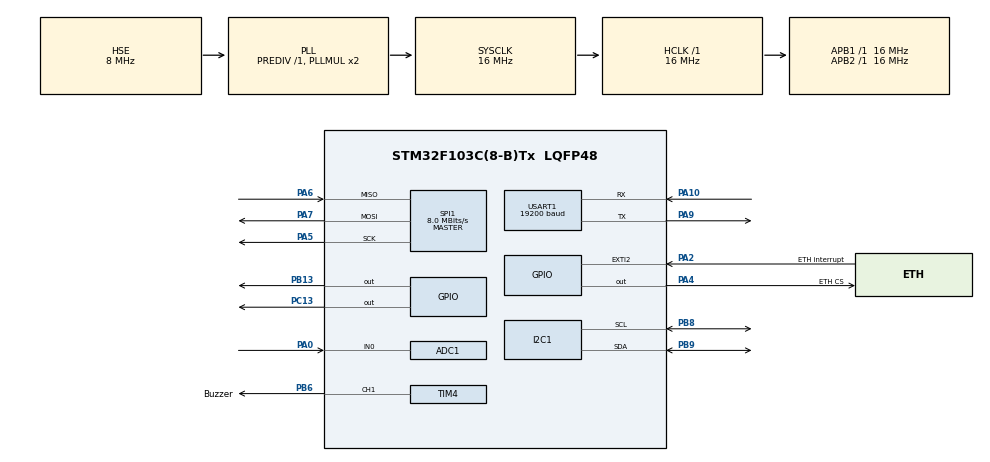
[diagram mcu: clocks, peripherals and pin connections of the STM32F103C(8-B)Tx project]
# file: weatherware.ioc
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ADC1.Channel-7\#ChannelRegularConversion=ADC_CHANNEL_0
ADC1.NbrOfConversionFlag=1
ADC1.Rank-7\#ChannelRegularConversion=1
ADC1.SamplingTime-7\#ChannelRegularConversion=ADC_SAMPLETIME_1CYCLE_5
ADC1.master=1
FREERTOS.Tasks01=defaultTask,0,128,StartDefaultTask,Default,NULL
FREERTOS.configMINIMAL_STACK_SIZE=512
FREERTOS.configTOTAL_HEAP_SIZE=8192
Mcu.Family=STM32F1
Mcu.Name=STM32F103C(8-B)Tx
Mcu.Package=LQFP48
NVIC.EXTI2_IRQn=true\:5\:0\:false\:false\:true\:true\:true\:true
NVIC.PriorityGroup=NVIC_PRIORITYGROUP_4
NVIC.TIM1_UP_IRQn=true\:0\:0\:false\:false\:true\:false\:false\:true
NVIC.TIM3_IRQn=true\:5\:0\:false\:false\:true\:true\:true\:true
NVIC.TimeBase=TIM1_UP_IRQn
NVIC.TimeBaseIP=TIM1
NVIC.USART1_IRQn=true\:5\:0\:false\:false\:true\:true\:true\:true
PA0-WKUP.Signal=ADCx_IN0
PA10.Mode=Asynchronous
PA10.Signal=USART1_RX
PA13.Mode=Serial_Wire
PA13.Signal=SYS_JTMS-SWDIO
PA14.Mode=Serial_Wire
PA14.Signal=SYS_JTCK-SWCLK
PA2.GPIO_Label=ETH interrupt
PA2.GPIO_ModeDefaultEXTI=GPIO_MODE_IT_FALLING
PA2.Signal=GPXTI2
PA4.GPIO_Label=ETH CS
PA4.GPIO_Speed=GPIO_SPEED_FREQ_HIGH
PA4.Signal=GPIO_Output
PA5.Mode=Full_Duplex_Master
PA5.Signal=SPI1_SCK
PA6.Mode=Full_Duplex_Master
PA6.Signal=SPI1_MISO
PA7.Mode=Full_Duplex_Master
PA7.Signal=SPI1_MOSI
PA9.Mode=Asynchronous
PA9.Signal=USART1_TX
PB13.GPIO_ModeDefaultOutputPP=GPIO_MODE_OUTPUT_OD
PB13.Signal=GPIO_Output
PB6.GPIO_Label=Buzzer
PB6.GPIO_Speed=GPIO_SPEED_FREQ_LOW
PB6.Signal=S_TIM4_CH1
PB8.Mode=I2C
PB8.Signal=I2C1_SCL
PB9.Mode=I2C
PB9.Signal=I2C1_SDA
PC13-TAMPER-RTC.Signal=GPIO_Output
PD0-OSC_IN.Mode=HSE-External-Oscillator
PD0-OSC_IN.Signal=RCC_OSC_IN
PD1-OSC_OUT.Mode=HSE-External-Oscillator
PD1-OSC_OUT.Signal=RCC_OSC_OUT
ProjectManager.HeapSize=0x400
ProjectManager.StackSize=0x800
ProjectManager.TargetToolchain=SW4STM32
RCC.AHBFreq_Value=16000000
RCC.APB1Freq_Value=16000000
RCC.APB1TimFreq_Value=16000000
RCC.APB2Freq_Value=16000000
RCC.APB2TimFreq_Value=16000000
RCC.HCLKFreq_Value=16000000
RCC.PLLSourceVirtual=RCC_PLLSOURCE_HSE
RCC.SYSCLKFreq_VALUE=16000000
RCC.SYSCLKSource=RCC_SYSCLKSOURCE_PLLCLK
RCC.USBFreq_Value=16000000
SH.ADCx_IN0.0=ADC1_IN0,IN0
SH.S_TIM4_CH1.0=TIM4_CH1,PWM Generation1 CH1
SPI1.CalculateBaudRate=8.0 MBits/s
SPI1.Direction=SPI_DIRECTION_2LINES
SPI1.Mode=SPI_MODE_MASTER
SPI1.VirtualType=VM_MASTER
TIM3.Period=0xffff
TIM3.Prescaler=8-1
TIM4.Channel-PWM\ Generation1\ CH1=TIM_CHANNEL_1
TIM4.Period=65535
USART1.BaudRate=19200
USART1.VirtualMode=VM_ASYNC
VP_FREERTOS_VS_CMSIS_V1.Mode=CMSIS_V1
VP_SYS_VS_tim1.Mode=TIM1
VP_TIM3_VS_ClockSourceINT.Mode=Internal
board=custom

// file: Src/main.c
/* USER CODE BEGIN Header */
/**
  ******************************************************************************
  * @file           : main.c
  * @brief          : Main program body
  ******************************************************************************
  * @attention
  *
  * <h2><center>&copy; Copyright (c) 2019 STMicroelectronics.
  * All rights reserved.</center></h2>
  *
  * This software component is licensed by ST under BSD 3-Clause license,
  * the "License"; You may not use this file except in compliance with the
  * License. You may obtain a copy of the License at:
  *                        opensource.org/licenses/BSD-3-Clause
  *
  ******************************************************************************
  */
/* USER CODE END Header */

#include "main.h"
#include "cmsis_os.h"
#include "adc.h"
#include "i2c.h"
#include "spi.h"
#include "tim.h"
#include "usart.h"
#include "gpio.h"

/* USER CODE BEGIN Includes */
#include "enc28j60/enc28j60.h"
#include "enc28j60/net.h"
/* USER CODE END Includes */

void SystemClock_Config(void);
void MX_FREERTOS_Init(void);

int main(void)
{

  /* MCU Configuration--------------------------------------------------------*/

  /* Reset of all peripherals, Initializes the Flash interface and the Systick. */
  HAL_Init();

  /* Configure the system clock */
  SystemClock_Config();

  /* Initialize all configured peripherals */
  MX_GPIO_Init();
  MX_ADC1_Init();
  MX_SPI1_Init();
  MX_TIM4_Init();
  MX_USART1_UART_Init();
  MX_I2C1_Init();
  MX_TIM3_Init();
  /* USER CODE BEGIN 2 */

	//Ds18b20_Init(osPriorityNormal);
net_ini();
  /* USER CODE END 2 */

  /* Call init function for freertos objects (in freertos.c) */
  MX_FREERTOS_Init();

  /* Start scheduler */
  osKernelStart();

  /* We should never get here as control is now taken by the scheduler */

  /* Infinite loop */
  	  while(1)
  	  {

  	  }
}

void SystemClock_Config(void)
{
  RCC_OscInitTypeDef RCC_OscInitStruct = {0};
  RCC_ClkInitTypeDef RCC_ClkInitStruct = {0};
  RCC_PeriphCLKInitTypeDef PeriphClkInit = {0};

  /** Initializes the CPU, AHB and APB busses clocks
  */
  RCC_OscInitStruct.OscillatorType = RCC_OSCILLATORTYPE_HSE;
  RCC_OscInitStruct.HSEState = RCC_HSE_ON;
  RCC_OscInitStruct.HSEPredivValue = RCC_HSE_PREDIV_DIV1;
  RCC_OscInitStruct.HSIState = RCC_HSI_ON;
  RCC_OscInitStruct.PLL.PLLState = RCC_PLL_ON;
  RCC_OscInitStruct.PLL.PLLSource = RCC_PLLSOURCE_HSE;
  RCC_OscInitStruct.PLL.PLLMUL = RCC_PLL_MUL2;
  if (HAL_RCC_OscConfig(&RCC_OscInitStruct) != HAL_OK)
  {
    Error_Handler();
  }
  /** Initializes the CPU, AHB and APB busses clocks
  */
  RCC_ClkInitStruct.ClockType = RCC_CLOCKTYPE_HCLK|RCC_CLOCKTYPE_SYSCLK
                              |RCC_CLOCKTYPE_PCLK1|RCC_CLOCKTYPE_PCLK2;
  RCC_ClkInitStruct.SYSCLKSource = RCC_SYSCLKSOURCE_PLLCLK;
  RCC_ClkInitStruct.AHBCLKDivider = RCC_SYSCLK_DIV1;
  RCC_ClkInitStruct.APB1CLKDivider = RCC_HCLK_DIV1;
  RCC_ClkInitStruct.APB2CLKDivider = RCC_HCLK_DIV1;

  if (HAL_RCC_ClockConfig(&RCC_ClkInitStruct, FLASH_LATENCY_0) != HAL_OK)
  {
    Error_Handler();
  }
  PeriphClkInit.PeriphClockSelection = RCC_PERIPHCLK_ADC;
  PeriphClkInit.AdcClockSelection = RCC_ADCPCLK2_DIV2;
  if (HAL_RCCEx_PeriphCLKConfig(&PeriphClkInit) != HAL_OK)
  {
    Error_Handler();
  }
}

/* USER CODE BEGIN 4 */
//Network
void HAL_GPIO_EXTI_Callback(uint16_t GPIO_Pin)
{
	if(GPIO_Pin== GPIO_PIN_2)
	{
	   net_poll();
	} else {
	   __NOP();
	}
}

/* USER CODE END 4 */

void HAL_TIM_PeriodElapsedCallback(TIM_HandleTypeDef *htim)
{
  if (htim->Instance == TIM1) {
    HAL_IncTick();
  }
}

void Error_Handler(void)
{
}

/************************ (C) COPYRIGHT STMicroelectronics *****END OF FILE****/

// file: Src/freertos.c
/* USER CODE BEGIN Header */
/**
  ******************************************************************************
  * File Name          : freertos.c
  * Description        : Code for freertos applications
  ******************************************************************************
  * @attention
  *
  * <h2><center>&copy; Copyright (c) 2019 STMicroelectronics.
  * All rights reserved.</center></h2>
  *
  * This software component is licensed by ST under Ultimate Liberty license
  * SLA0044, the "License"; You may not use this file except in compliance with
  * the License. You may obtain a copy of the License at:
  *                             www.st.com/SLA0044
  *
  ******************************************************************************
  */
/* USER CODE END Header */

#include "FreeRTOS.h"
#include "task.h"
#include "main.h"
#include "cmsis_os.h"

/* USER CODE BEGIN Includes */
#include "stdlib.h"
#include "tim.h"
#include "adc.h"
#include "ds18b20/ds18b20.h"
#include "bmp280.h"
#include "i2c.h"
/* USER CODE END Includes */

/* USER CODE BEGIN Variables */
osThreadId buzzerTaskHandle;

BMP280_HandleTypedef bmp280;
float pressure, temperature, humidity;
/* USER CODE END Variables */
osThreadId defaultTaskHandle;

/* USER CODE BEGIN FunctionPrototypes */
void StartBuzzerTask(void const * argument);
void StartAlarmTask(void const * argument);
void StartBlinkTask(void const * argument);
void StartADCTask(void const * argument);
void StartBMPTask(void const * argument);
void init_buzz(void);
void init_photores(void);
void init_alarm(void);
void init_bmp(void);
/* USER CODE END FunctionPrototypes */

void StartDefaultTask(void const * argument);

void MX_FREERTOS_Init(void); /* (MISRA C 2004 rule 8.1) */

void MX_FREERTOS_Init(void) {

  /* Create the thread(s) */
  /* definition and creation of defaultTask */
  osThreadDef(defaultTask, StartDefaultTask, osPriorityNormal, 0, 128);
  defaultTaskHandle = osThreadCreate(osThread(defaultTask), NULL);

  /* USER CODE BEGIN RTOS_THREADS */
  /* add threads, ... */
  osThreadDef(blinkTask, StartBlinkTask, osPriorityNormal, 0, 128);
  osThreadCreate(osThread(blinkTask), NULL);

  Ds18b20_Init(osPriorityNormal);

  init_bmp();
  init_buzz();
  init_photores();
  init_alarm();
  //osThreadDef(alarmTask, StartAlarmTask, osPriorityNormal, 0, 128);
  //osThreadCreate(osThread(alarmTask), NULL);
  /* USER CODE END RTOS_THREADS */

}

void StartDefaultTask(void const * argument)
{

  for(;;)
  {
    osDelay(1);
  }
}

/* USER CODE BEGIN Application */
uint32_t photores_value = 2048;
uint8_t buzz_flag = 0;
uint8_t alarm_flag = 0;

void StartBlinkTask(void const * argument) {
	while (1) {
		HAL_GPIO_TogglePin(GPIOC, GPIO_PIN_13);
		osDelay(200);
	}
}
void StartBuzzerTask(void const * argument) {
	while (1) {
		while (buzz_flag == 0) {
		}

		HAL_TIM_PWM_Start(&htim4, TIM_CHANNEL_1);
		uint32_t period = 10000;
		uint32_t step = -100;
		TIM4->CCR1 = 300;
		uint32_t counter = 0;
		while (1) {
			TIM4->ARR = period;
			period += step;
			//if (period >= 10000) step = -100;
			if (period <= 6000) {
				if (counter >= 2)
					break;
				counter++;
				period = 10000;  //step = 100;
			}
			osDelay(6);
		}

		HAL_TIM_PWM_Stop(&htim4, TIM_CHANNEL_1);
		buzz_flag=0;
	}
	//vTaskDelete(NULL);
}

void StartAlarmTask(void const * argument) {

	while (1) {
		if (alarm_flag == 0) {
			HAL_TIM_PWM_Stop(&htim4, TIM_CHANNEL_1);
		}
		while (alarm_flag == 0) {
			osDelay(5);
		}
		HAL_TIM_PWM_Start(&htim4, TIM_CHANNEL_1);
		while (alarm_flag == 1) {
			TIM4->CCR1 = 250;//value*16;//258;//value*1024;
			TIM4->ARR = photores_value*16;//65535-photores_value*16;
			osDelay(5);
		}
	}

}

void StartADCTask(void const * argument) {
	while (1) {
		HAL_ADC_Start(&hadc1);
		//HAL_ADC_PollForConversion(&hadc1, 100);
		photores_value = HAL_ADC_GetValue(&hadc1);
		HAL_ADC_Stop(&hadc1);
		osDelay(5);
	}
}

void StartBMPTask(void const * argument) {
	bmp280_init_default_params(&bmp280.params);
	bmp280.addr = BMP280_I2C_ADDRESS_0;
	bmp280.i2c = &hi2c1;
	uint16_t size;
	uint8_t Data[256];
	char bmp_data[256] = {0};
	while (!bmp280_init(&bmp280, &bmp280.params)) {
			size = sprintf((char *)Data, "BMP280 initialization failed\n");
			//HAL_UART_Transmit(&huart1, Data, size, 1000);
			osDelay(2000);
	}
	bool bme280p = bmp280.id == BME280_CHIP_ID;

	while (1) {

		osDelay(100);
		while (!bmp280_read_float(&bmp280, &temperature, &pressure, &humidity)) {
				//	size = sprintf((char *)Data,
				//			"Temperature/pressure reading failed\n");
					//HAL_UART_Transmit(&huart1, Data, size, 1000);
					//HAL_Delay(2000);
					osDelay(100);
				}
				//sprintf(bmp_data, "Pressure: %f Pa, Temperature: 2f C",
				//				pressure, temperature);

				//size = sprintf((char *)Data,"Pressure: %.2f Pa, Temperature: %.2f C",
				//		pressure, temperature);
				//HAL_UART_Transmit(&huart1, Data, size, 1000);
				if (bme280p) {
				//size = sprintf((char *)Data,", Humidity: %.2f\n", humidity);
					//HAL_UART_Transmit(&huart1, Data, size, 1000);
				}

				else {
				//	size = sprintf((char *)Data, "\n");
					//HAL_UART_Transmit(&huart1, Data, size, 1000);
				}

		osDelay(2000);
	}
}

void init_buzz(void) {
	osThreadDef(buzzerTask, StartBuzzerTask, osPriorityNormal, 0, 128);
	buzzerTaskHandle = osThreadCreate(osThread(buzzerTask), NULL);
}

void init_photores(void) {
	osThreadDef(ADCTask, StartADCTask, osPriorityNormal, 0, 128);
	osThreadCreate(osThread(ADCTask), NULL);
}

void init_alarm(void) {
	osThreadDef(alarmTask, StartAlarmTask, osPriorityNormal, 0, 128);
	osThreadCreate(osThread(alarmTask), NULL);
}

void init_bmp(void) {
	osThreadDef(bmpTask, StartBMPTask, osPriorityNormal, 0, 256);
	osThreadCreate(osThread(bmpTask), NULL);
}

/* USER CODE END Application */

/************************ (C) COPYRIGHT STMicroelectronics *****END OF FILE****/
